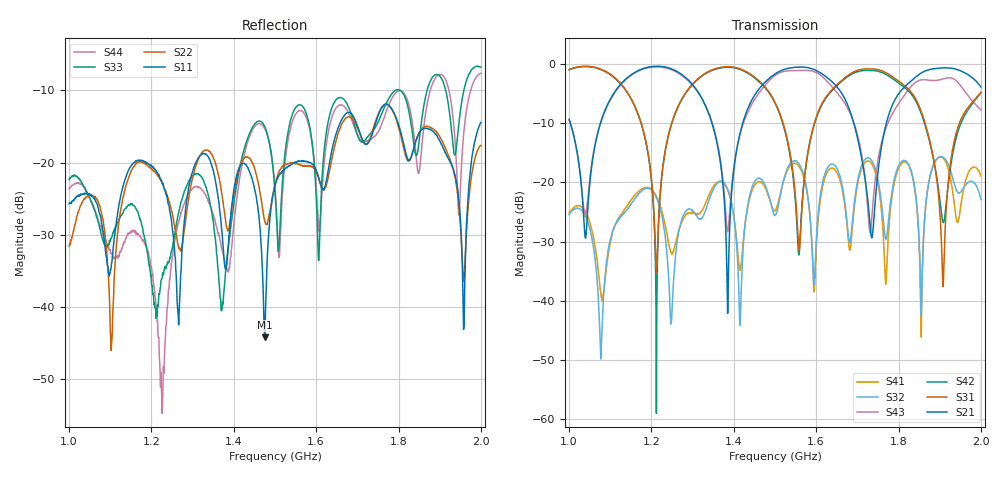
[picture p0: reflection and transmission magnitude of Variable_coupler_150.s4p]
#  HZ  S  DB  R  50.00
! Rohde & Schwarz Vector Network Analyzer
! Rohde-Schwarz,ZNB8-4Port,1311601044102961,2.82
! Created: UTC 1/17/2019, 3:19:13 PM
! freq[Hz]  db:S11  ang:S11  db:S12  ang:S12  db:S13  ang:S13  db:S14  ang:S14
!  db:S21  ang:S21  db:S22  ang:S22  db:S23  ang:S23  db:S24  ang:S24
!  db:S31  ang:S31  db:S32  ang:S32  db:S33  ang:S33  db:S34  ang:S34
!  db:S41  ang:S41  db:S42  ang:S42  db:S43  ang:S43  db:S44  ang:S44
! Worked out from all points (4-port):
!   1001 points, 1 GHz to 2 GHz, reference 50 ohm
!   strongest paths, dB at 1 GHz, 1.25 GHz, 1.5 GHz, 1.75 GHz, 2 GHz:
!     S21: -9.3, -0.8, -1.7, -18.3, -3.9
!     S31: -0.9, -9.8, -6.4, -0.9, -4.8
!     S42: -0.9, -9.9, -6.5, -1.2, -4.8
!     S43: -9.4, -1.0, -1.9, -16.2, -7.7
!     S32: -25.5, -41.7, -25.6, -19.5, -22.9
!     S41: -25.1, -32.2, -24.8, -20.3, -18.9
!   lowest |S11| = -44.2 dB at 1.475 GHz (marker M1), VSWR 1.01, Z = 50.6 - j0.154 ohm
!   |S11| at or under -10 dB: start of sweep to end of sweep
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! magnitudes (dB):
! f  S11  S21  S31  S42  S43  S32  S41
! 1 GHz  -25.7  -9.3  -0.9  -0.9  -9.4  -25.5  -25.1
! 1.212 GHz  -21.1  -0.3  -35.2  -59.0  -0.5  -22.6  -22.3
! 1.385 GHz  -32.6  -42.1  -0.4  -0.5  -28.4  -21.1  -21.3
! 1.475 GHz  -44.2  -3.1  -3.8  -3.9  -3.6  -20.3  -20.7
! 1.735 GHz  -16.3  -29.4  -0.8  -1.1  -26.1  -16.3  -16.9
! 1.908 GHz  -17.9  -0.6  -37.6  -26.8  -2.5  -15.7  -15.9
! 2 GHz  -14.4  -3.9  -4.8  -4.8  -7.7  -22.9  -18.9
